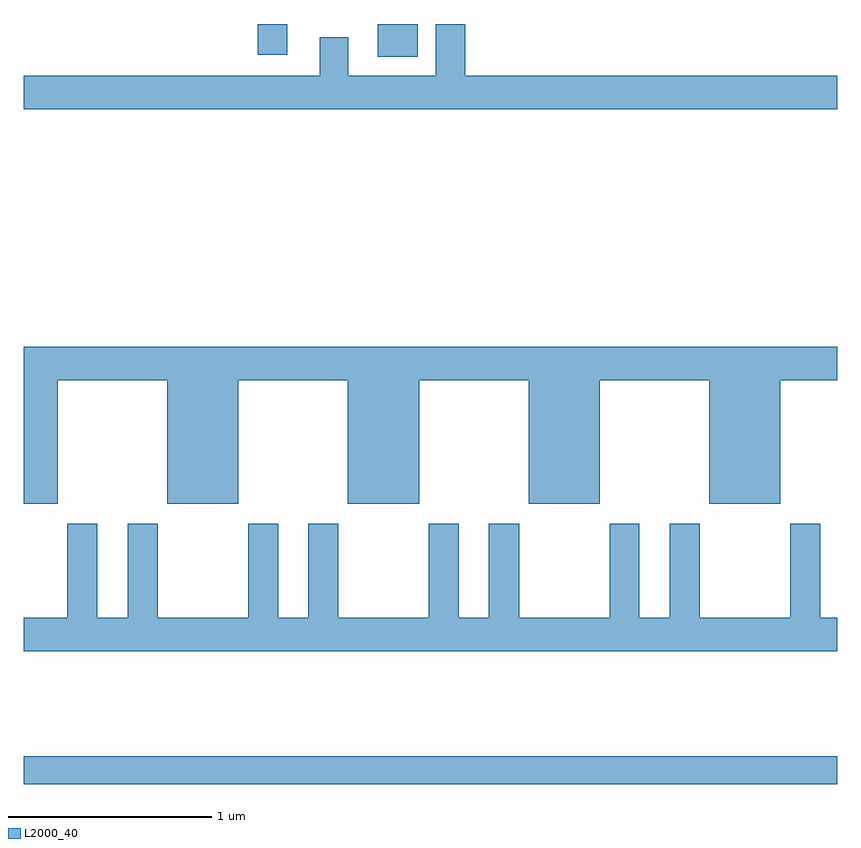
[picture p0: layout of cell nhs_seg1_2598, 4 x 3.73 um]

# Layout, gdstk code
import gdstk
lib = gdstk.Library(unit=1e-6, precision=1e-09)
def R(c, l, rs):  # rectangles x0, y0, x1, y1
    for r in rs: c.add(gdstk.rectangle(r[:2], r[2:], *l))
def P(c, l, *ps):  # polygons
    for p in ps: c.add(gdstk.Polygon(p, *l))
L2000_40 = (2000, 40)

nhs_seg1_2598 = lib.new_cell('nhs_seg1_2598')
R(nhs_seg1_2598, L2000_40, [(253,500.464,257,500.6), (254.741,504.038,254.937,504.199), (254.15,504.048,254.296,504.199)])
P(nhs_seg1_2598, L2000_40, [(257,503.944),(255.17,503.944),(255.17,504.199),(255.026,504.199),(255.026,503.944),(254.596,503.944),(254.596,504.134),(254.456,504.134),(254.456,503.944),(253,503.944),(253,503.78),(257,503.78)],
  [(253,501.842),(253.168,501.842),(253.168,502.448),(253.706,502.448),(253.706,501.842),(254.056,501.842),(254.056,502.448),(254.594,502.448),(254.594,501.842),(254.944,501.842),(254.944,502.448),(255.482,502.448),(255.482,501.842),(255.832,501.842),(255.832,502.448),(256.37,502.448),(256.37,501.842),(256.72,501.842),(256.72,502.448),(257,502.448),(257,502.612),(253,502.612)],
  [(257,501.28),(256.915,501.28),(256.915,501.742),(256.767,501.742),(256.767,501.28),(256.323,501.28),(256.323,501.742),(256.175,501.742),(256.175,501.28),(256.027,501.28),(256.027,501.742),(255.88,501.742),(255.88,501.28),(255.435,501.28),(255.435,501.742),(255.287,501.742),(255.287,501.28),(255.139,501.28),(255.139,501.742),(254.992,501.742),(254.992,501.28),(254.547,501.28),(254.547,501.742),(254.399,501.742),(254.399,501.28),(254.251,501.28),(254.251,501.742),(254.104,501.742),(254.104,501.28),(253.659,501.28),(253.659,501.742),(253.511,501.742),(253.511,501.28),(253.363,501.28),(253.363,501.742),(253.216,501.742),(253.216,501.28),(253,501.28),(253,501.116),(257,501.116)])

lib.write_gds('nhs_seg1_2598.gds')
